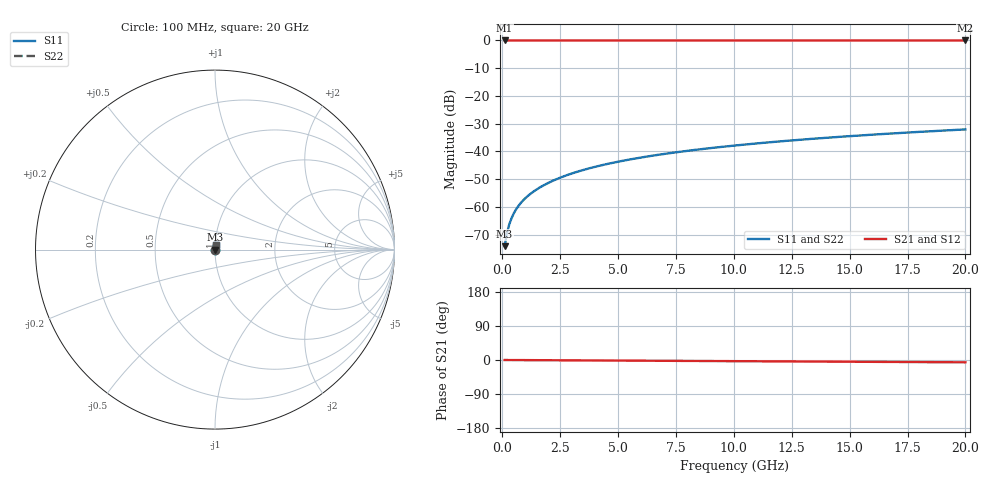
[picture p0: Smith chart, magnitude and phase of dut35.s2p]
! Touchstone file exported from HFSS 2026.1.0
!  File:  C:/ffzhzh/LocalFiles/Ansys_Project_Files/temp_train_TSV_35_1782958496_45308.aedt
!  Generated:  10:16:21 AM Jul  2, 2026
!  Design:  TSV
!  Project:  temp_train_TSV_35_1782958496_45308
! Variables:
!  h_bsmrdl = 2um
!  h_ox = 20um
!  h_rdl = 5um
!  h_sub = 54.33um
!  h_tmrdl = 5um
!  h_tsv = 54.33um
!  h_via = 3um
!  l_bsmrdl = 300um
!  l_sub = 417.24um
!  l_tmrdl = 200um
!  m_sub = 200um
!  pitch = 45.54um
!  r_tsv = 8.62um
!  s_tmrdl = 10um
!  w_bsmrdl = 18um
!  w_sub = 500um
!  w_tmrdl = 12um
!  x_tsv_center1 = 206um
!  x_tsv_center2 = 524um
!  x_tsv_center3 = 736um
!  x_tsv_center4 = 1054um
!  x_tsv_center5 = 1266um
!  x_tsv_center6 = 1584um
# GHz S MA R 50.000000
! Terminal data exported
! Port[1] = TSV1_1_T1
! Port[2] = TSV1_1_T2
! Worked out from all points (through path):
!   200 points, 100 MHz to 20 GHz, reference 50 ohm
!   highest |S21| = 0.00 dB at 100 MHz (marker M1); lowest = 0.0 dB at 20 GHz (marker M2)
!   lowest |S11| = -74.1 dB at 100 MHz (marker M3), VSWR 1.00, Z = 50 + j0.0157 ohm
!   |S11| at or under -10 dB: start of sweep to end of sweep
!   |S22| runs from -74.1 to -32.1 dB; largest |S21 - S12| = 2.2e-15
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0.1  0.0001967 52.8  0.9999 -0.0  0.9999 -0.0  0.0001967 52.8
! Gamma 0 0 0 0
! Port Impedance 50 0 50 0
0.2  0.0003367 67.7  0.9999 -0.1  0.9999 -0.1  0.0003367 67.7
0.3  0.0004839 73.1  0.9999 -0.1  0.9999 -0.1  0.0004839 73.1
0.4  0.0006299 75.5  0.9998 -0.1  0.9998 -0.1  0.0006299 75.5
0.5  0.0007729 76.9  0.9998 -0.2  0.9998 -0.2  0.0007729 76.9
0.6  0.0009126 77.8  0.9998 -0.2  0.9998 -0.2  0.0009126 77.8
0.7  0.001049 78.4  0.9998 -0.2  0.9998 -0.2  0.001049 78.4
0.8  0.001183 79.0  0.9998 -0.3  0.9998 -0.3  0.001183 79.0
1  0.001447 79.8  0.9997 -0.3  0.9997 -0.3  0.001447 79.8
1.4  0.001963 81.1  0.9997 -0.4  0.9997 -0.4  0.001963 81.1
1.7  0.002348 81.8  0.9997 -0.5  0.9997 -0.5  0.002348 81.8
2  0.002732 82.3  0.9997 -0.6  0.9997 -0.6  0.002732 82.3
2.7  0.003627 83.2  0.9996 -0.8  0.9996 -0.8  0.003627 83.2
3.5  0.004646 83.7  0.9996 -1.1  0.9996 -1.1  0.004646 83.7
4.2  0.005533 83.9  0.9995 -1.3  0.9995 -1.3  0.005533 83.9
5  0.006541 84.0  0.9995 -1.5  0.9995 -1.5  0.006541 84.0
6.8  0.008789 84.0  0.9994 -2.1  0.9994 -2.1  0.008789 84.0
8.3  0.01065 83.9  0.9993 -2.5  0.9993 -2.5  0.01065 83.9
10.1  0.01287 83.7  0.9992 -3.1  0.9992 -3.1  0.01287 83.7
13.4  0.01692 83.1  0.999 -4.1  0.999 -4.1  0.01692 83.1
16.7  0.02095 82.4  0.9988 -5.1  0.9988 -5.1  0.02095 82.4
20  0.02496 81.6  0.9987 -6.1  0.9987 -6.1  0.02496 81.5
